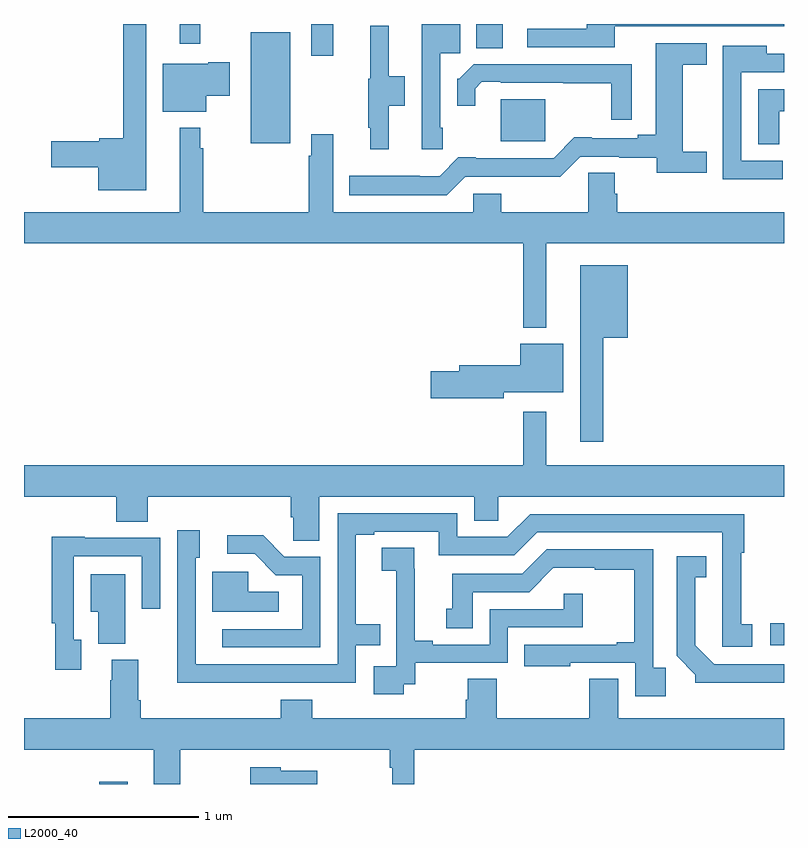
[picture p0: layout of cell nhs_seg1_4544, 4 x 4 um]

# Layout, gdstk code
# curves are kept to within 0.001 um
import gdstk
lib = gdstk.Library(unit=1e-6, precision=1e-09)
def R(c, l, rs):  # rectangles x0, y0, x1, y1
    for r in rs: c.add(gdstk.rectangle(r[:2], r[2:], *l))
def P(c, l, *ps):  # polygons
    for p in ps: c.add(gdstk.Polygon(p, *l))
L2000_40 = (2000, 40)

nhs_seg1_4544 = lib.new_cell('nhs_seg1_4544')
R(nhs_seg1_4544, L2000_40, [(357.395,570.199,357.547,570.211), (360.927,570.93,361,571.046), (358.193,573.572,358.402,574.156), (359.51,573.581,359.743,573.802), (358.511,574.032,358.627,574.199), (359.381,574.072,359.521,574.199), (357.821,574.095,357.928,574.199)])
P(nhs_seg1_4544, L2000_40, [(359.203,573.652),(359.19,573.652),(359.19,574.044),(359.296,574.044),(359.296,574.199),(359.094,574.199),(359.094,573.54),(359.203,573.54)],
  [(360.109,574.188),(361,574.188),(361,574.199),(359.962,574.199),(359.962,574.175),(359.649,574.175),(359.649,574.077),(360.109,574.077)],
  [(357.643,574.199),(357.522,574.199),(357.522,573.599),(357.396,573.599),(357.396,573.581),(357.144,573.581),(357.144,573.446),(357.392,573.446),(357.392,573.323),(357.643,573.323)],
  [(358.921,573.769),(359.005,573.769),(359.005,573.924),(358.921,573.924),(358.921,574.189),(358.823,574.189),(358.823,573.912),(358.812,573.912),(358.812,573.652),(358.823,573.652),(358.823,573.54),(358.921,573.54)],
  [(359.322,573.396),(359.822,573.395),(359.928,573.501),(360.132,573.501),(360.132,573.496),(360.329,573.496),(360.329,573.416),(360.593,573.416),(360.593,573.527),(360.466,573.527),(360.466,573.985),(360.593,573.985),(360.593,574.099),(360.326,574.099),(360.326,573.617),(360.23,573.617),(360.23,573.597),(359.989,573.597),(359.989,573.602),(359.897,573.602),(359.787,573.492),(359.377,573.492),(359.377,573.497),(359.285,573.497),(359.187,573.399),(358.712,573.4),(358.712,573.299),(359.225,573.299)],
  [(360.994,573.48),(360.774,573.48),(360.774,573.945),(361,573.945),(361,574.042),(360.91,574.042),(360.91,574.084),(360.678,574.084),(360.678,573.848),(360.677,573.848),(360.677,573.613),(360.678,573.613),(360.678,573.383),(360.994,573.383)],
  [(357.958,573.821),(358.084,573.821),(358.084,573.999),(357.971,573.999),(357.971,573.991),(357.731,573.991),(357.731,573.737),(357.958,573.737)],
  [(360.198,573.987),(359.366,573.987),(359.291,573.912),(359.28,573.912),(359.28,573.768),(359.375,573.768),(359.375,573.858),(359.41,573.894),(359.509,573.894),(359.509,573.891),(359.839,573.891),(359.839,573.886),(360.09,573.886),(360.09,573.696),(360.198,573.696)],
  [(360.976,573.739),(361,573.739),(361,573.855),(360.864,573.855),(360.864,573.565),(360.976,573.565)],
  [(359.749,573.044),(361,573.044),(361,573.208),(360.122,573.208),(360.122,573.306),(360.109,573.306),(360.109,573.416),(359.97,573.416),(359.97,573.208),(359.511,573.208),(359.511,573.306),(359.364,573.306),(359.364,573.208),(358.627,573.208),(358.627,573.619),(358.511,573.619),(358.511,573.506),(358.499,573.506),(358.499,573.208),(357.943,573.208),(357.943,573.545),(357.928,573.545),(357.928,573.652),(357.821,573.652),(357.821,573.208),(357,573.208),(357,573.044),(359.628,573.044),(359.628,572.6),(359.749,572.6)],
  [(360.049,572.549),(360.178,572.549),(360.178,572.929),(359.927,572.929),(359.927,572.001),(360.049,572.001)],
  [(359.526,572.261),(359.839,572.261),(359.839,572.515),(359.612,572.515),(359.612,572.402),(359.291,572.402),(359.291,572.372),(359.142,572.372),(359.142,572.23),(359.526,572.23)],
  [(358.555,571.712),(359.369,571.712),(359.369,571.585),(359.496,571.585),(359.496,571.712),(361,571.712),(361,571.876),(359.749,571.876),(359.749,572.158),(359.628,572.158),(359.628,571.876),(357,571.876),(357,571.712),(357.485,571.712),(357.485,571.579),(357.65,571.579),(357.65,571.712),(358.403,571.712),(358.403,571.603),(358.416,571.603),(358.416,571.48),(358.555,571.48)],
  [(358.268,570.732),(358.746,570.732),(358.746,570.93),(358.874,570.93),(358.874,571.039),(358.747,571.039),(358.747,571.512),(358.843,571.512),(358.843,571.527),(359.184,571.527),(359.184,571.404),(359.58,571.404),(359.7,571.524),(360.675,571.524),(360.674,570.921),(360.832,570.921),(360.832,571.041),(360.774,571.041),(360.774,571.417),(360.791,571.417),(360.791,571.62),(359.664,571.62),(359.544,571.5),(359.28,571.5),(359.28,571.623),(358.65,571.623),(358.65,570.828),(357.903,570.828),(357.903,571.389),(357.925,571.389),(357.925,571.534),(357.807,571.534),(357.806,570.731)],
  [(358.56,571.395),(358.371,571.395),(358.258,571.508),(358.071,571.508),(358.071,571.41),(358.215,571.41),(358.326,571.299),(358.464,571.299),(358.464,571.014),(358.044,571.014),(358.044,570.918),(358.56,570.918)],
  [(357.301,570.957),(357.261,570.957),(357.261,571.398),(357.621,571.398),(357.621,571.122),(357.717,571.122),(357.717,571.494),(357.321,571.494),(357.321,571.501),(357.145,571.501),(357.145,571.045),(357.164,571.045),(357.164,570.801),(357.301,570.801)],
  [(358.998,570.723),(359.06,570.723),(359.06,570.837),(359.547,570.837),(359.547,571.023),(359.942,571.023),(359.942,571.201),(359.841,571.201),(359.841,571.119),(359.451,571.119),(359.451,570.933),(359.152,570.933),(359.152,570.953),(359.056,570.953),(359.056,571.331),(359.054,571.331),(359.054,571.442),(358.884,571.442),(358.884,571.321),(358.958,571.321),(358.958,571.123),(358.959,571.123),(358.959,570.819),(358.842,570.819),(358.842,570.672),(358.998,570.672)],
  [(360.377,570.811),(360.312,570.811),(360.312,571.434),(359.751,571.434),(359.622,571.305),(359.255,571.305),(359.255,571.122),(359.222,571.122),(359.222,571.018),(359.362,571.018),(359.362,571.209),(359.658,571.209),(359.786,571.337),(360.005,571.337),(360.005,571.326),(360.211,571.326),(360.211,570.946),(360.119,570.946),(360.119,570.933),(359.632,570.933),(359.632,570.818),(359.875,570.818),(359.875,570.837),(360.216,570.837),(360.216,570.66),(360.377,570.66)],
  [(360.968,570.732),(361,570.732),(361,570.828),(360.633,570.828),(360.532,570.929),(360.532,571.286),(360.59,571.286),(360.59,571.399),(360.435,571.399),(360.435,570.874),(360.534,570.775),(360.534,570.731)],
  [(358.342,571.21),(358.179,571.21),(358.179,571.317),(357.992,571.317),(357.992,571.106),(358.342,571.106)],
  [(357.532,571.303),(357.35,571.303),(357.35,571.106),(357.392,571.106),(357.392,570.937),(357.532,570.937)],
  [(357.823,570.38),(358.926,570.38),(358.926,570.284),(358.938,570.284),(358.938,570.199),(359.054,570.199),(359.054,570.38),(361,570.38),(361,570.544),(360.127,570.544),(360.127,570.752),(359.975,570.752),(359.975,570.544),(359.489,570.544),(359.489,570.752),(359.336,570.752),(359.336,570.642),(359.324,570.642),(359.324,570.544),(358.517,570.544),(358.517,570.643),(358.352,570.643),(358.352,570.544),(357.614,570.544),(357.614,570.64),(357.601,570.64),(357.601,570.852),(357.461,570.852),(357.461,570.746),(357.454,570.746),(357.454,570.544),(357,570.544),(357,570.38),(357.683,570.38),(357.683,570.199),(357.823,570.199)],
  [(358.543,570.268),(358.35,570.268),(358.35,570.286),(358.19,570.286),(358.19,570.199),(358.543,570.199)])

lib.write_gds('nhs_seg1_4544.gds')
